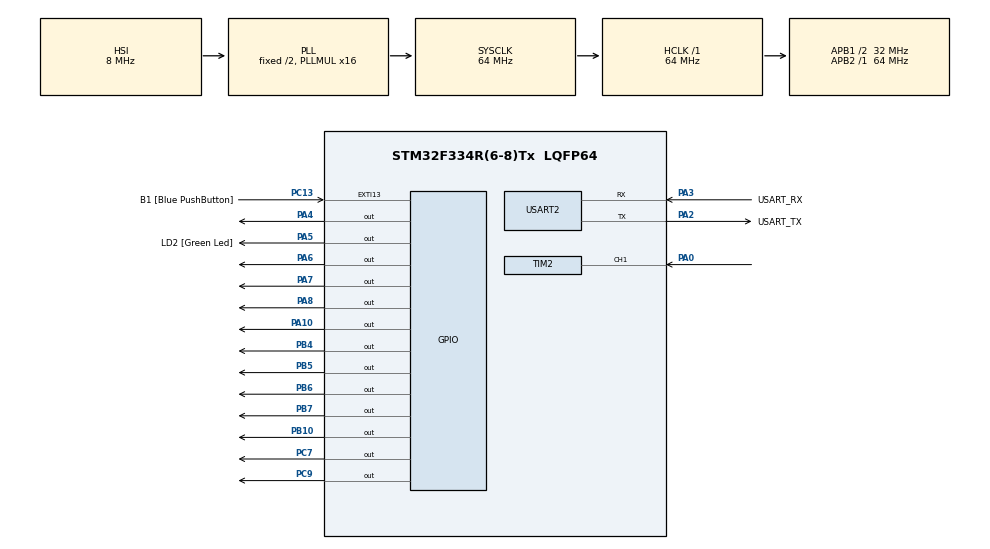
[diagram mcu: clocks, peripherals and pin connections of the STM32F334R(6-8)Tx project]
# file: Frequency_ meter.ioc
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Mcu.Family=STM32F3
Mcu.Name=STM32F334R(6-8)Tx
Mcu.Package=LQFP64
NVIC.EXTI15_10_IRQn=true\:0\:0\:false\:false\:true\:true\:true\:true
NVIC.PriorityGroup=NVIC_PRIORITYGROUP_0
NVIC.TIM6_DAC1_IRQn=true\:0\:0\:false\:false\:true\:true\:true\:true
PA0.GPIO_PuPd=GPIO_PULLDOWN
PA0.GPIO_Speed=GPIO_SPEED_FREQ_HIGH
PA0.Signal=S_TIM2_CH1_ETR
PA10.Signal=GPIO_Output
PA13.GPIO_Label=TMS
PA13.Mode=Serial_Wire
PA13.Signal=SYS_JTMS-SWDIO
PA14.GPIO_Label=TCK
PA14.Mode=Serial_Wire
PA14.Signal=SYS_JTCK-SWCLK
PA2.GPIO_Label=USART_TX
PA2.Mode=Asynchronous
PA2.Signal=USART2_TX
PA3.GPIO_Label=USART_RX
PA3.Mode=Asynchronous
PA3.Signal=USART2_RX
PA4.Signal=GPIO_Output
PA5.GPIO_Label=LD2 [Green Led]
PA5.Signal=GPIO_Output
PA6.Signal=GPIO_Output
PA7.Signal=GPIO_Output
PA8.Signal=GPIO_Output
PB10.Signal=GPIO_Output
PB3.GPIO_Label=SWO
PB3.Signal=SYS_JTDO-TRACESWO
PB4.Signal=GPIO_Output
PB5.Signal=GPIO_Output
PB6.Signal=GPIO_Output
PB7.Signal=GPIO_Output
PC13.GPIO_Label=B1 [Blue PushButton]
PC13.GPIO_ModeDefaultEXTI=GPIO_MODE_IT_FALLING
PC13.Signal=GPXTI13
PC14\ /\ OSC32_IN.Mode=LSE-External-Oscillator
PC14\ /\ OSC32_IN.Signal=RCC_OSC32_IN
PC15\ /\ OSC32_OUT.GPIO_Label=RCC_OSC32_OUT
PC15\ /\ OSC32_OUT.Mode=LSE-External-Oscillator
PC15\ /\ OSC32_OUT.Signal=RCC_OSC32_OUT
PC7.Signal=GPIO_Output
PC9.Signal=GPIO_Output
PF0\ /\ OSC_IN.Signal=RCC_OSC_IN
PF1\ /\ OSC_OUT.Signal=RCC_OSC_OUT
ProjectManager.HeapSize=0x200
ProjectManager.StackSize=0x400
ProjectManager.TargetToolchain=STM32CubeIDE
RCC.AHBFreq_Value=64000000
RCC.APB1CLKDivider=RCC_HCLK_DIV2
RCC.APB1Freq_Value=32000000
RCC.APB1TimFreq_Value=64000000
RCC.APB2Freq_Value=64000000
RCC.APB2TimFreq_Value=64000000
RCC.CortexFreq_Value=64000000
RCC.FLatency-AdvancedSettings=FLASH_LATENCY_2
RCC.HCLKFreq_Value=64000000
RCC.HSE_VALUE=8000000
RCC.HSI_VALUE=8000000
RCC.PLLMUL=RCC_PLL_MUL16
RCC.SYSCLKFreq_VALUE=64000000
RCC.SYSCLKSourceVirtual=RCC_SYSCLKSOURCE_PLLCLK
SH.S_TIM2_CH1_ETR.0=TIM2_CH1,Input_Capture1_from_TI1
TIM2.Channel-Input_Capture1_from_TI1=TIM_CHANNEL_1
TIM6.Period=31
TIM6.Prescaler=9999
USART2.VirtualMode-Asynchronous=VM_ASYNC
VP_TIM2_VS_ClockSourceINT.Mode=Internal
VP_TIM6_VS_ClockSourceINT.Mode=Enable_Timer
board=NUCLEO-F334R8

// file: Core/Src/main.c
/* USER CODE BEGIN Header */
/**
  ******************************************************************************
  * @file           : main.c
  * @brief          : Main program body
  ******************************************************************************
  * @attention
  *
  * Copyright (c) 2026 STMicroelectronics.
  * All rights reserved.
  *
  * This software is licensed under terms that can be found in the LICENSE file
  * in the root directory of this software component.
  * If no LICENSE file comes with this software, it is provided AS-IS.
  *
  ******************************************************************************
  */
/* USER CODE END Header */
#include "main.h"

/* USER CODE BEGIN Includes */
#include "stdbool.h"
#include "math.h"

#define SEG_A_1 HAL_GPIO_WritePin(GPIOA, GPIO_PIN_10, 1)
#define SEG_A_0 HAL_GPIO_WritePin(GPIOA, GPIO_PIN_10, 0)
#define SEG_B_1 HAL_GPIO_WritePin(GPIOB, GPIO_PIN_6, 1)
#define SEG_B_0 HAL_GPIO_WritePin(GPIOB, GPIO_PIN_6, 0)
#define SEG_C_1 HAL_GPIO_WritePin(GPIOB, GPIO_PIN_5, 1)
#define SEG_C_0 HAL_GPIO_WritePin(GPIOB, GPIO_PIN_5, 0)
#define SEG_D_1 HAL_GPIO_WritePin(GPIOB, GPIO_PIN_4, 1)
#define SEG_D_0 HAL_GPIO_WritePin(GPIOB, GPIO_PIN_4, 0)
#define SEG_E_1 HAL_GPIO_WritePin(GPIOB, GPIO_PIN_10, 1)
#define SEG_E_0 HAL_GPIO_WritePin(GPIOB, GPIO_PIN_10, 0)
#define SEG_F_1 HAL_GPIO_WritePin(GPIOA, GPIO_PIN_8, 1)
#define SEG_F_0 HAL_GPIO_WritePin(GPIOA, GPIO_PIN_8, 0)
#define SEG_G_1 HAL_GPIO_WritePin(GPIOC, GPIO_PIN_9, 1)
#define SEG_G_0  HAL_GPIO_WritePin(GPIOC, GPIO_PIN_9, 0)
#define SEG_DP_1 HAL_GPIO_WritePin(GPIOC, GPIO_PIN_7, 1)
#define SEG_DP_0 HAL_GPIO_WritePin(GPIOC, GPIO_PIN_7, 0)

#define RAZN_1_ON  HAL_GPIO_WritePin(GPIOB, GPIO_PIN_7, 1)
#define RAZN_1_OFF HAL_GPIO_WritePin(GPIOB, GPIO_PIN_7, 0)
#define RAZN_2_ON  HAL_GPIO_WritePin(GPIOA, GPIO_PIN_4, 1)
#define RAZN_2_OFF HAL_GPIO_WritePin(GPIOA, GPIO_PIN_4, 0)
#define RAZN_3_ON  HAL_GPIO_WritePin(GPIOA, GPIO_PIN_6, 1)
#define RAZN_3_OFF HAL_GPIO_WritePin(GPIOA, GPIO_PIN_6, 0)
#define RAZN_4_ON  HAL_GPIO_WritePin(GPIOA, GPIO_PIN_7, 1)
#define RAZN_4_OFF HAL_GPIO_WritePin(GPIOA, GPIO_PIN_7, 0)

#define MINUS SEG_A_0; SEG_B_0; SEG_C_0; SEG_D_0; SEG_E_0; SEG_F_0; SEG_G_1;

#define TIME_DEL 1000

int num = 0;
bool old_but = 1;
bool new_but = 1;

int R1_1000, R2_100, R3_10, R4_1;

void numbers(int x);
bool debounce (bool old);
void chislo(int num);
void chislo_f(float num);
volatile uint8_t count_tim_it;
float num_ber;
float freq;

void HAL_TIM_PeriodElapsedCallback (TIM_HandleTypeDef * htim)
{
	if(htim -> Instance == TIM6)
	{

	if(++count_tim_it > 4) count_tim_it = 1;

		if (num_ber < 0) {
			num_ber *= -1;
			if (count_tim_it == 1) {
				RAZN_2_OFF;
				RAZN_3_OFF;
				RAZN_4_OFF;
				RAZN_1_ON;
				MINUS;
				SEG_DP_0;
			}
			if (count_tim_it == 2) {
				RAZN_2_ON;
				RAZN_3_OFF;
				RAZN_4_OFF;
				RAZN_1_OFF;
				numbers(R2_100);
				if (num_ber >= 0 && num_ber < 10)
					SEG_DP_1;
				else
					SEG_DP_0;
			}
			if (count_tim_it == 3) {
				RAZN_2_OFF;
				RAZN_3_ON;
				RAZN_4_OFF;
				RAZN_1_OFF;
				numbers(R3_10);
				if (num_ber >= 10 && num_ber < 100)
					SEG_DP_1;
				else
					SEG_DP_0;
			}
			if (count_tim_it == 4) {
				RAZN_2_OFF;
				RAZN_3_OFF;
				RAZN_4_ON;
				RAZN_1_OFF;
				numbers(R4_1);
				SEG_DP_0;
			}
		}
	else {

			if (count_tim_it == 1) {
				RAZN_2_OFF;
				RAZN_3_OFF;
				RAZN_4_OFF;
				RAZN_1_ON;
				numbers(R1_1000);
				if (num_ber >= 0 && num_ber < 10)
					SEG_DP_1;
				else
					SEG_DP_0;
			}
			if (count_tim_it == 2) {
				RAZN_2_ON;
				RAZN_3_OFF;
				RAZN_4_OFF;
				RAZN_1_OFF;
				numbers(R2_100);
				if (num_ber >= 10 && num_ber < 100)
					SEG_DP_1;
				else
					SEG_DP_0;
			}
			if (count_tim_it == 3) {
				RAZN_2_OFF;
				RAZN_3_ON;
				RAZN_4_OFF;
				RAZN_1_OFF;
				numbers(R3_10);
				if (num_ber >= 100 && num_ber < 1000)
					SEG_DP_1;
				else
					SEG_DP_0;
			}
			if (count_tim_it == 4) {
				RAZN_2_OFF;
				RAZN_3_OFF;
				RAZN_4_ON;
				RAZN_1_OFF;
				numbers(R4_1);
				SEG_DP_0;
			}
		}
	}
}

/* USER CODE END Includes */

TIM_HandleTypeDef htim2;
TIM_HandleTypeDef htim6;

UART_HandleTypeDef huart2;

/* USER CODE BEGIN PV */

_Bool First_Capture = 0;
uint32_t Cap_1 = 0;
uint32_t Cap_2 = 0;
uint32_t Cap_Diff = 0;

void HAL_TIM_IC_CaptureCallback (TIM_HandleTypeDef * htim)
{
	if(htim -> Instance == TIM2)
	{
		if(htim -> Channel == HAL_TIM_ACTIVE_CHANNEL_1)
		{
			if(First_Capture == 0)
			{
				Cap_1 =  HAL_TIM_ReadCapturedValue(htim, TIM_CHANNEL_1);
				First_Capture = 1;
			}
			else
			{
				Cap_2 =  HAL_TIM_ReadCapturedValue(htim, TIM_CHANNEL_1);

				if(Cap_2 > Cap_1)
				{
					Cap_Diff = Cap_2 - Cap_1;
				}
				else
				{
					Cap_Diff = 4294967295 - Cap_1 + Cap_2;
				}

				freq = 64000000.0 / Cap_Diff;
				__HAL_TIM_SET_COUNTER(htim, 0);
				First_Capture = 0;
			}
		}
	}
}
/* USER CODE END PV */

void SystemClock_Config(void);
static void MX_GPIO_Init(void);
static void MX_TIM6_Init(void);
static void MX_USART2_UART_Init(void);
static void MX_TIM2_Init(void);

int main(void)
{

  /* MCU Configuration--------------------------------------------------------*/

  /* Reset of all peripherals, Initializes the Flash interface and the Systick. */
  HAL_Init();

  /* Configure the system clock */
  SystemClock_Config();

  /* Initialize all configured peripherals */
  MX_GPIO_Init();
  MX_TIM6_Init();
  MX_USART2_UART_Init();
  MX_TIM2_Init();
  /* USER CODE BEGIN 2 */
  numbers(num);
  HAL_TIM_Base_Start_IT(&htim6);
  HAL_TIM_IC_Start_IT(&htim2, TIM_CHANNEL_1);
  /* USER CODE END 2 */

  /* Infinite loop */
  /* USER CODE BEGIN WHILE */
  while (1)
  {

	  num_ber = freq;

	  chislo_f(freq);

	  HAL_Delay(500);

    /* USER CODE END WHILE */

  }
}

void SystemClock_Config(void)
{
  RCC_OscInitTypeDef RCC_OscInitStruct = {0};
  RCC_ClkInitTypeDef RCC_ClkInitStruct = {0};

  /** Initializes the RCC Oscillators according to the specified parameters
  * in the RCC_OscInitTypeDef structure.
  */
  RCC_OscInitStruct.OscillatorType = RCC_OSCILLATORTYPE_HSI;
  RCC_OscInitStruct.HSIState = RCC_HSI_ON;
  RCC_OscInitStruct.HSICalibrationValue = RCC_HSICALIBRATION_DEFAULT;
  RCC_OscInitStruct.PLL.PLLState = RCC_PLL_ON;
  RCC_OscInitStruct.PLL.PLLSource = RCC_PLLSOURCE_HSI;
  RCC_OscInitStruct.PLL.PLLMUL = RCC_PLL_MUL16;
  if (HAL_RCC_OscConfig(&RCC_OscInitStruct) != HAL_OK)
  {
    Error_Handler();
  }

  /** Initializes the CPU, AHB and APB buses clocks
  */
  RCC_ClkInitStruct.ClockType = RCC_CLOCKTYPE_HCLK|RCC_CLOCKTYPE_SYSCLK
                              |RCC_CLOCKTYPE_PCLK1|RCC_CLOCKTYPE_PCLK2;
  RCC_ClkInitStruct.SYSCLKSource = RCC_SYSCLKSOURCE_PLLCLK;
  RCC_ClkInitStruct.AHBCLKDivider = RCC_SYSCLK_DIV1;
  RCC_ClkInitStruct.APB1CLKDivider = RCC_HCLK_DIV2;
  RCC_ClkInitStruct.APB2CLKDivider = RCC_HCLK_DIV1;

  if (HAL_RCC_ClockConfig(&RCC_ClkInitStruct, FLASH_LATENCY_2) != HAL_OK)
  {
    Error_Handler();
  }
}

static void MX_TIM2_Init(void)
{

  TIM_ClockConfigTypeDef sClockSourceConfig = {0};
  TIM_MasterConfigTypeDef sMasterConfig = {0};
  TIM_IC_InitTypeDef sConfigIC = {0};

  htim2.Instance = TIM2;
  htim2.Init.Prescaler = 0;
  htim2.Init.CounterMode = TIM_COUNTERMODE_UP;
  htim2.Init.Period = 4294967295;
  htim2.Init.ClockDivision = TIM_CLOCKDIVISION_DIV1;
  htim2.Init.AutoReloadPreload = TIM_AUTORELOAD_PRELOAD_DISABLE;
  if (HAL_TIM_Base_Init(&htim2) != HAL_OK)
  {
    Error_Handler();
  }
  sClockSourceConfig.ClockSource = TIM_CLOCKSOURCE_INTERNAL;
  if (HAL_TIM_ConfigClockSource(&htim2, &sClockSourceConfig) != HAL_OK)
  {
    Error_Handler();
  }
  if (HAL_TIM_IC_Init(&htim2) != HAL_OK)
  {
    Error_Handler();
  }
  sMasterConfig.MasterOutputTrigger = TIM_TRGO_RESET;
  sMasterConfig.MasterSlaveMode = TIM_MASTERSLAVEMODE_DISABLE;
  if (HAL_TIMEx_MasterConfigSynchronization(&htim2, &sMasterConfig) != HAL_OK)
  {
    Error_Handler();
  }
  sConfigIC.ICPolarity = TIM_INPUTCHANNELPOLARITY_RISING;
  sConfigIC.ICSelection = TIM_ICSELECTION_DIRECTTI;
  sConfigIC.ICPrescaler = TIM_ICPSC_DIV1;
  sConfigIC.ICFilter = 0;
  if (HAL_TIM_IC_ConfigChannel(&htim2, &sConfigIC, TIM_CHANNEL_1) != HAL_OK)
  {
    Error_Handler();
  }

}

static void MX_TIM6_Init(void)
{

  TIM_MasterConfigTypeDef sMasterConfig = {0};

  htim6.Instance = TIM6;
  htim6.Init.Prescaler = 9999;
  htim6.Init.CounterMode = TIM_COUNTERMODE_UP;
  htim6.Init.Period = 31;
  htim6.Init.AutoReloadPreload = TIM_AUTORELOAD_PRELOAD_DISABLE;
  if (HAL_TIM_Base_Init(&htim6) != HAL_OK)
  {
    Error_Handler();
  }
  sMasterConfig.MasterOutputTrigger = TIM_TRGO_RESET;
  sMasterConfig.MasterSlaveMode = TIM_MASTERSLAVEMODE_DISABLE;
  if (HAL_TIMEx_MasterConfigSynchronization(&htim6, &sMasterConfig) != HAL_OK)
  {
    Error_Handler();
  }

}

static void MX_USART2_UART_Init(void)
{

  huart2.Instance = USART2;
  huart2.Init.BaudRate = 38400;
  huart2.Init.WordLength = UART_WORDLENGTH_8B;
  huart2.Init.StopBits = UART_STOPBITS_1;
  huart2.Init.Parity = UART_PARITY_NONE;
  huart2.Init.Mode = UART_MODE_TX_RX;
  huart2.Init.HwFlowCtl = UART_HWCONTROL_NONE;
  huart2.Init.OverSampling = UART_OVERSAMPLING_16;
  huart2.Init.OneBitSampling = UART_ONE_BIT_SAMPLE_DISABLE;
  huart2.AdvancedInit.AdvFeatureInit = UART_ADVFEATURE_NO_INIT;
  if (HAL_UART_Init(&huart2) != HAL_OK)
  {
    Error_Handler();
  }

}

static void MX_GPIO_Init(void)
{
  GPIO_InitTypeDef GPIO_InitStruct = {0};

  /* GPIO Ports Clock Enable */
  __HAL_RCC_GPIOC_CLK_ENABLE();
  __HAL_RCC_GPIOF_CLK_ENABLE();
  __HAL_RCC_GPIOA_CLK_ENABLE();
  __HAL_RCC_GPIOB_CLK_ENABLE();

  /*Configure GPIO pin Output Level */
  HAL_GPIO_WritePin(GPIOA, GPIO_PIN_4|LD2_Pin|GPIO_PIN_6|GPIO_PIN_7
                          |GPIO_PIN_8|GPIO_PIN_10, GPIO_PIN_RESET);

  /*Configure GPIO pin Output Level */
  HAL_GPIO_WritePin(GPIOB, GPIO_PIN_10|GPIO_PIN_4|GPIO_PIN_5|GPIO_PIN_6
                          |GPIO_PIN_7, GPIO_PIN_RESET);

  /*Configure GPIO pin Output Level */
  HAL_GPIO_WritePin(GPIOC, GPIO_PIN_7|GPIO_PIN_9, GPIO_PIN_RESET);

  /*Configure GPIO pin : B1_Pin */
  GPIO_InitStruct.Pin = B1_Pin;
  GPIO_InitStruct.Mode = GPIO_MODE_IT_FALLING;
  GPIO_InitStruct.Pull = GPIO_NOPULL;
  HAL_GPIO_Init(B1_GPIO_Port, &GPIO_InitStruct);

  /*Configure GPIO pins : PA4 LD2_Pin PA6 PA7
                           PA8 PA10 */
  GPIO_InitStruct.Pin = GPIO_PIN_4|LD2_Pin|GPIO_PIN_6|GPIO_PIN_7
                          |GPIO_PIN_8|GPIO_PIN_10;
  GPIO_InitStruct.Mode = GPIO_MODE_OUTPUT_PP;
  GPIO_InitStruct.Pull = GPIO_NOPULL;
  GPIO_InitStruct.Speed = GPIO_SPEED_FREQ_LOW;
  HAL_GPIO_Init(GPIOA, &GPIO_InitStruct);

  /*Configure GPIO pins : PB10 PB4 PB5 PB6
                           PB7 */
  GPIO_InitStruct.Pin = GPIO_PIN_10|GPIO_PIN_4|GPIO_PIN_5|GPIO_PIN_6
                          |GPIO_PIN_7;
  GPIO_InitStruct.Mode = GPIO_MODE_OUTPUT_PP;
  GPIO_InitStruct.Pull = GPIO_NOPULL;
  GPIO_InitStruct.Speed = GPIO_SPEED_FREQ_LOW;
  HAL_GPIO_Init(GPIOB, &GPIO_InitStruct);

  /*Configure GPIO pins : PC7 PC9 */
  GPIO_InitStruct.Pin = GPIO_PIN_7|GPIO_PIN_9;
  GPIO_InitStruct.Mode = GPIO_MODE_OUTPUT_PP;
  GPIO_InitStruct.Pull = GPIO_NOPULL;
  GPIO_InitStruct.Speed = GPIO_SPEED_FREQ_LOW;
  HAL_GPIO_Init(GPIOC, &GPIO_InitStruct);

  /* EXTI interrupt init*/
  HAL_NVIC_SetPriority(EXTI15_10_IRQn, 0, 0);
  HAL_NVIC_EnableIRQ(EXTI15_10_IRQn);

}

/* USER CODE BEGIN 4 */
bool debounce (bool old)
{
	bool new = HAL_GPIO_ReadPin(GPIOC, GPIO_PIN_0);
	if (new != old){
		HAL_Delay(6);
		new = HAL_GPIO_ReadPin(GPIOC, GPIO_PIN_0);
		return new;
	}
    return new;
}

void numbers(int x)
{
	switch(x){

	case 0: SEG_A_1; SEG_B_1; SEG_C_1; SEG_D_1; SEG_E_1; SEG_F_1; SEG_G_0; SEG_DP_1;
	break;
	case 1: SEG_A_0; SEG_B_1; SEG_C_1; SEG_D_0; SEG_E_0; SEG_F_0; SEG_G_0; SEG_DP_1;
	break;
	case 2: SEG_A_1; SEG_B_1; SEG_C_0; SEG_D_1; SEG_E_1; SEG_F_0; SEG_G_1; SEG_DP_1;
	break;
	case 3: SEG_A_1; SEG_B_1; SEG_C_1; SEG_D_1; SEG_E_0; SEG_F_0; SEG_G_1; SEG_DP_1;
	break;
	case 4: SEG_A_0; SEG_B_1; SEG_C_1; SEG_D_0; SEG_E_1; SEG_F_1; SEG_G_1; SEG_DP_1;
	break;
	case 5: SEG_A_1; SEG_B_0; SEG_C_1; SEG_D_1; SEG_E_0; SEG_F_1; SEG_G_1; SEG_DP_1;
	break;
	case 6: SEG_A_1; SEG_B_0; SEG_C_1; SEG_D_1; SEG_E_1; SEG_F_1; SEG_G_1; SEG_DP_1;
	break;
	case 7: SEG_A_1; SEG_B_1; SEG_C_1; SEG_D_0; SEG_E_0; SEG_F_0; SEG_G_0; SEG_DP_1;
	break;
	case 8: SEG_A_1; SEG_B_1; SEG_C_1; SEG_D_1; SEG_E_1; SEG_F_1; SEG_G_1; SEG_DP_1;
	break;
	case 9: SEG_A_1; SEG_B_1; SEG_C_1; SEG_D_1; SEG_E_0; SEG_F_1; SEG_G_1; SEG_DP_1;
	break;
	default: SEG_A_1; SEG_B_1; SEG_C_0; SEG_D_0; SEG_E_0; SEG_F_1; SEG_G_1; SEG_DP_1;

	}

}

void chislo_f(float num)
{
	float num_old = num;

	if(num < 0) num *= -1;

	if (num_old < 0) {
		if (num >= 100)
			num *= 1;
		else if (num >= 10 && num < 100)
			num *= 10;
		else if (num >= 0 && num < 10)
			num *= 100;

		int num_int;
		num_int = lrint(num);

		R2_100 = num_int / 100;
		R3_10 = (num_int % 100) / 10;
		R4_1 = num_int % 10;
	}
	else {
		if (num >= 1000)
			num *= 1;
		else if (num >= 100 && num < 1000)
			num *= 10;
		else if (num >= 10 && num < 100)
			num *= 100;
		else if (num >= 0 && num < 10)
			num *= 1000;

		int num_int;
		num_int = lrint(num);

		R1_1000 = num_int / 1000;
		R2_100 = (num_int % 1000) / 100;
		R3_10 = (num_int % 100) / 10;
		R4_1 = num_int % 10;
	}
}
/* USER CODE END 4 */

void Error_Handler(void)
{
  __disable_irq();
  while (1)
  {
  }
}
